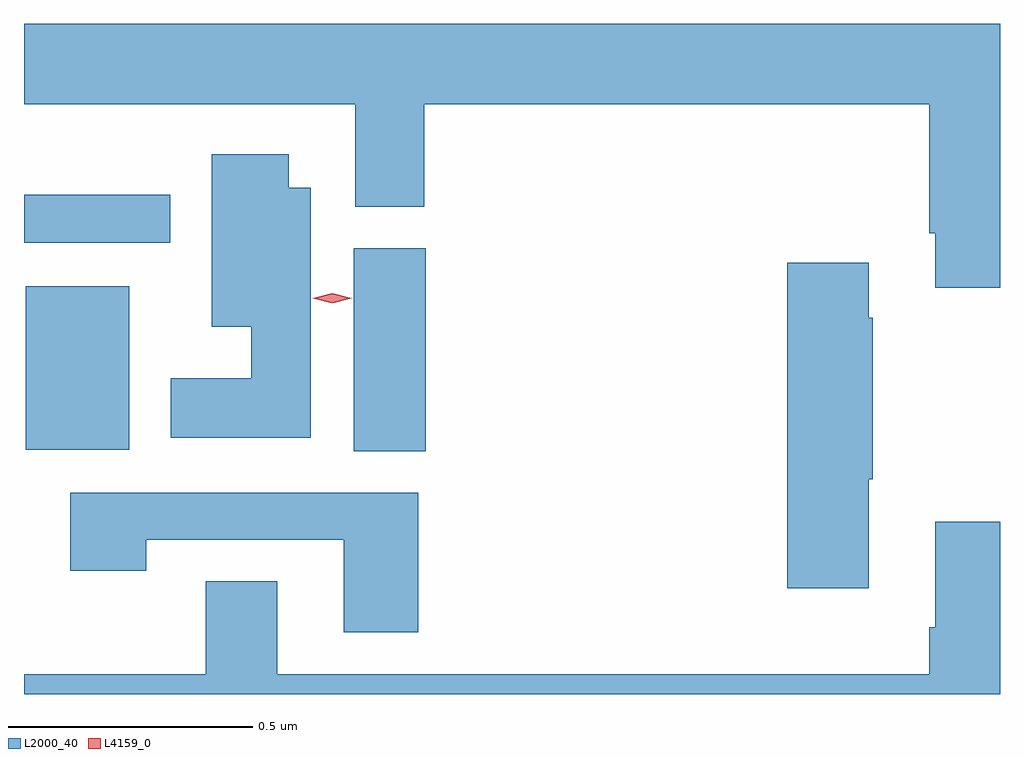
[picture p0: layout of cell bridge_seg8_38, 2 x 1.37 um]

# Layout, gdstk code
import gdstk
lib = gdstk.Library(unit=1e-6, precision=1e-09)
def R(c, l, rs):  # rectangles x0, y0, x1, y1
    for r in rs: c.add(gdstk.rectangle(r[:2], r[2:], *l))
def P(c, l, *ps):  # polygons
    for p in ps: c.add(gdstk.Polygon(p, *l))
L2000_40 = (2000, 40)
L4159_0 = (4159, 0)

bridge_seg8_38 = lib.new_cell('bridge_seg8_38')
R(bridge_seg8_38, L2000_40, [(1073.774,1161.076,1073.921,1161.492), (1073.102,1161.08,1073.314,1161.415), (1073.098,1161.504,1073.398,1161.602)])
P(bridge_seg8_38, L2000_40, [(1075.098,1161.952),(1073.098,1161.952),(1073.098,1161.788),(1073.777,1161.788),(1073.777,1161.577),(1073.918,1161.577),(1073.918,1161.788),(1074.953,1161.788),(1074.953,1161.523),(1074.965,1161.523),(1074.965,1161.411),(1075.098,1161.411)],
  [(1073.686,1161.616),(1073.641,1161.616),(1073.641,1161.685),(1073.483,1161.685),(1073.483,1161.332),(1073.564,1161.332),(1073.564,1161.226),(1073.399,1161.226),(1073.399,1161.104),(1073.686,1161.104)],
  [(1074.829,1161.019),(1074.837,1161.019),(1074.837,1161.35),(1074.829,1161.35),(1074.829,1161.463),(1074.662,1161.463),(1074.662,1160.796),(1074.829,1160.796)],
  [(1073.906,1160.991),(1073.193,1160.991),(1073.193,1160.832),(1073.349,1160.832),(1073.349,1160.895),(1073.753,1160.895),(1073.753,1160.706),(1073.906,1160.706)],
  [(1075.098,1160.932),(1074.965,1160.932),(1074.965,1160.716),(1074.953,1160.716),(1074.953,1160.62),(1073.617,1160.62),(1073.617,1160.81),(1073.47,1160.81),(1073.47,1160.62),(1073.098,1160.62),(1073.098,1160.579),(1075.098,1160.579)])
P(bridge_seg8_38, L4159_0, [(1073.73,1161.38),(1073.69,1161.39),(1073.69,1161.39),(1073.69,1161.39),(1073.73,1161.4),(1073.77,1161.39),(1073.771,1161.39),(1073.77,1161.39)])

lib.write_gds('bridge_seg8_38.gds')
